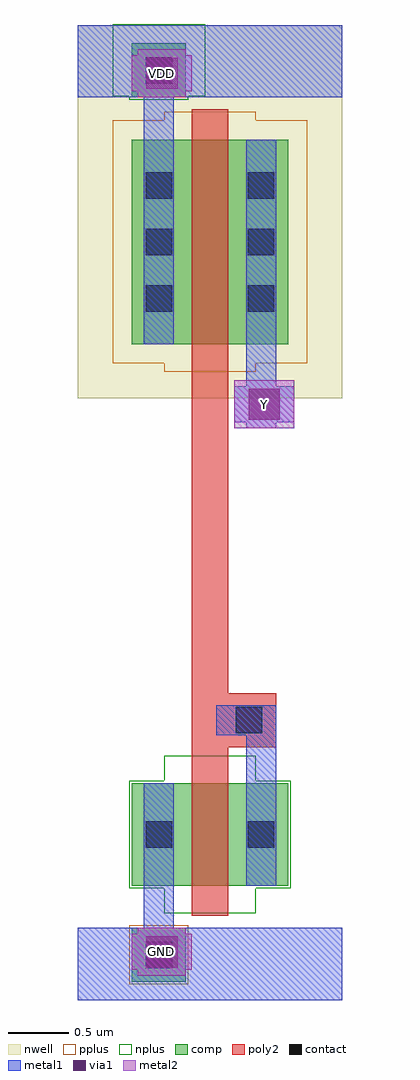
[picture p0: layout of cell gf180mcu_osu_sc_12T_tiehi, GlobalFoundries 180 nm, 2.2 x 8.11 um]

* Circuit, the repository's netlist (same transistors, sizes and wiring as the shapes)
.inc "../../char/techfiles/design.hspice"
.lib "../../char/techfiles/sm141064.hspice" typical

.GLOBAL VDD
.GLOBAL GND

.option scale=0.05u

.subckt gf180mcu_osu_sc_12T_tiehi Y
X0 Y a_19_11 VDD VDD pmos_3p3 w=34 l=6
X1 a_19_11 a_19_11 GND GND nmos_3p3 w=17 l=6
.ends

** hspice subcircuit dictionary

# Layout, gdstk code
import gdstk
lib = gdstk.Library(unit=1e-6, precision=1e-09)
def R(c, l, rs):  # rectangles x0, y0, x1, y1
    for r in rs: c.add(gdstk.rectangle(r[:2], r[2:], *l))
def A(c, l, x, y, w, h, nx, ny, dx, dy):  # array of equal rectangles
    R(c, l, [(x+i*dx, y+j*dy, x+i*dx+w, y+j*dy+h) for i in range(nx) for j in range(ny)])
nwell = (21, 0)
comp = (22, 0)
poly2 = (30, 0)
pplus = (31, 0)
nplus = (32, 0)
contact = (33, 0)
metal1 = (34, 0)
via1 = (35, 0)
metal2 = (36, 0)

gf180mcu_osu_sc_12t_tieh = lib.new_cell('gf180mcu_osu_sc_12T_tiehi')
R(gf180mcu_osu_sc_12t_tieh, nwell, [(0,4.85,2.2,7.95)])
R(gf180mcu_osu_sc_12t_tieh, comp, [(0.45,0,0.9,0.45), (0.45,0.8,1.75,1.65), (0.45,5.3,1.75,7), (0.45,7.35,0.9,7.8)])
R(gf180mcu_osu_sc_12t_tieh, poly2, [(0.95,0.55,1.25,1.95), (0.95,1.95,1.65,2.4), (0.95,2.4,1.25,7.25)])
R(gf180mcu_osu_sc_12t_tieh, pplus, [(0.43,-0.02,0.92,0.47), (0.72,5.07,1.48,5.14), (0.29,5.14,1.91,7.16), (0.72,7.16,1.48,7.23)])
R(gf180mcu_osu_sc_12t_tieh, nplus, [(0.72,0.57,1.48,0.78), (0.43,0.78,1.77,1.67), (0.72,1.67,1.48,1.88), (0.43,7.33,0.92,7.36), (0.29,7.36,1.06,7.96)])
A(gf180mcu_osu_sc_12t_tieh, contact, 0.565, 5.57, 0.22, 0.22, 1, 3, 0, 0.47)
A(gf180mcu_osu_sc_12t_tieh, contact, 1.415, 5.57, 0.22, 0.22, 1, 3, 0, 0.47)
R(gf180mcu_osu_sc_12t_tieh, contact, [(0.565,0.115,0.785,0.335), (0.565,1.115,0.785,1.335), (1.415,1.115,1.635,1.335), (1.315,2.065,1.535,2.285), (0.565,7.465,0.785,7.685)])
R(gf180mcu_osu_sc_12t_tieh, metal1, [(0,-0.15,2.2,0.45), (0.55,0.45,0.8,1.65), (1.4,0.8,1.65,2.05), (1.15,2.05,1.65,2.3), (1.4,4.6,1.65,4.65), (1.3,4.65,1.8,4.95), (1.4,4.95,1.65,7), (0.55,5.3,0.8,7.35), (0,7.35,2.2,7.95)])
R(gf180mcu_osu_sc_12t_tieh, via1, [(0.57,0.12,0.83,0.38), (1.42,4.67,1.68,4.93), (0.57,7.42,0.83,7.68)])
R(gf180mcu_osu_sc_12t_tieh, metal2, [(0.5,0.05,0.9,0.1), (0.45,0.1,0.95,0.4), (0.5,0.4,0.9,0.45), (1.3,4.6,1.8,5), (0.5,7.35,0.9,7.4), (0.45,7.4,0.95,7.7), (0.5,7.7,0.9,7.75)])
gf180mcu_osu_sc_12t_tieh.add(gdstk.Label('GND', (0.7,0.25), layer=36, texttype=0))
gf180mcu_osu_sc_12t_tieh.add(gdstk.Label('VDD', (0.7,7.55), layer=36, texttype=0))
gf180mcu_osu_sc_12t_tieh.add(gdstk.Label('Y', (1.55,4.8), layer=36, texttype=10))

lib.write_gds('gf180mcu_osu_sc_12T_tiehi.gds')
